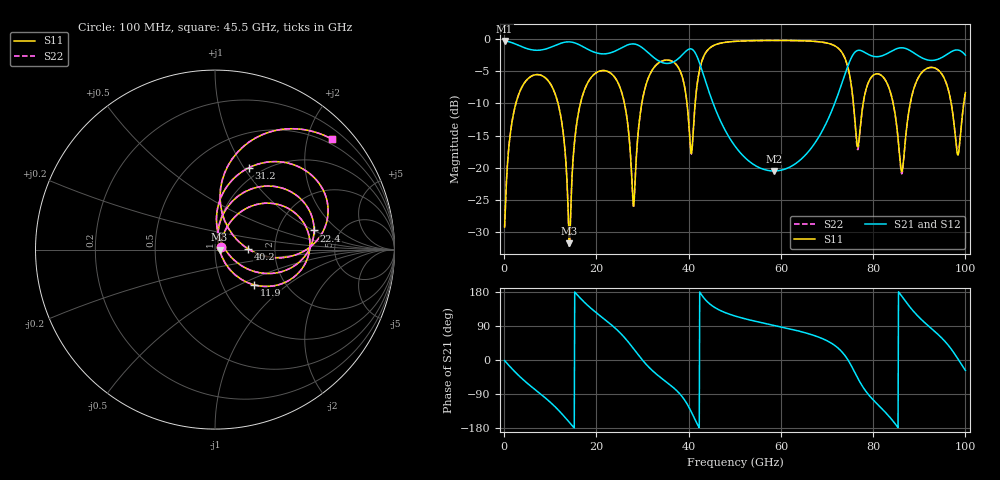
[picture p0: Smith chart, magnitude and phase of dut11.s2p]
! Touchstone file exported from HFSS 2026.1.0
!  File:  C:/ffzhzh/LocalFiles/Ansys_Project_Files/temp_train_TSV_RDL_11_1783612658_29156.aedt
!  Generated:  12:06:30 AM Jul 10, 2026
!  Design:  TSV_RDL
!  Project:  temp_train_TSV_RDL_11_1783612658_29156
! Variables:
!  h_bsmrdl = 2.23um
!  h_ox = 20um
!  h_rdl = 5um
!  h_sub = 91.65um
!  h_tmrdl = 2.52um
!  h_tsv = 91.65um
!  h_via = 3um
!  l_bsmrdl = 207.31um
!  l_sub = 3381.13um
!  l_tmrdl = 559.62um
!  m_sub = 200um
!  pitch = 52.19um
!  r_tsv = 14.86um
!  s_tmrdl = 10um
!  w_bsmrdl = 28.93um
!  w_sub = 500um
!  w_tmrdl = 11.31um
!  x_tsv_center1 = 565.275um
!  x_tsv_center2 = 801.515um
!  x_tsv_center3 = 1372.445um
!  x_tsv_center4 = 1608.685um
!  x_tsv_center5 = 2179.615um
!  x_tsv_center6 = 2415.855um
# GHz S MA R 50.000000
! Terminal data exported
! Port[1] = TM_RDL1_1_T1
! Port[2] = TM_RDL5_1_T1
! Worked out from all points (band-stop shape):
!   1000 points, 100 MHz to 100 GHz, reference 50 ohm
!   highest |S21| = -0.28 dB at 100 MHz (marker M1); lowest = -20.5 dB at 58.5 GHz (marker M2)
!   |S21| within 3 dB of the highest: start of sweep to 33.27 GHz; 75.02 GHz to 92.14 GHz (17.12 GHz wide, 20.5 % of centre) (the widest 2 of 4)
!   lowest |S11| = -31.8 dB at 14.1 GHz (marker M3), VSWR 1.05, Z = 52.6 - j0.0611 ohm
!   |S11| at or under -10 dB: 11.68 GHz to 16.53 GHz (4.852 GHz wide, 34.4 % of centre); 26.08 GHz to 29.84 GHz (3.759 GHz wide, 13.4 % of centre); 84.35 GHz to 88.04 GHz (3.691 GHz wide, 4.28 % of centre) (the widest 3 of 7)
!   |S22| runs from -32.2 to -0.2 dB; largest |S21 - S12| = 1.1e-13
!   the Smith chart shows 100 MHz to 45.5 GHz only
!   S11 on the Smith chart (normalised r, x): 100 MHz: 1.06, +0.03; 11.9 GHz: 1.41, -0.60; 22.4 GHz: 3.22, +1.01; 31.2 GHz: 0.87, +1.05; 40.2 GHz: 1.45, +0.02; 45.5 GHz: 0.39, +2.45
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0.1  0.03453 23.8  0.9687 -1.4  0.9687 -1.4  0.03453 23.8
! Gamma 0 0 0 0
! Port Impedance 50 0 50 0
3.9  0.4271 36.4  0.8716 -49.4  0.8716 -49.4  0.4272 36.3
11.9  0.2935 -41.9  0.9191 -134.0  0.9191 -134.0  0.2936 -42.1
14.1  0.02577 -1.3  0.953 -164.0  0.953 -164.0  0.02455 -2.5
16.8  0.3445 64.5  0.8853 159.5  0.8853 159.5  0.3443 64.7
22.4  0.5621 11.0  0.7732 101.3  0.7732 101.3  0.5621 11.0
28  0.05045 18.5  0.9186 30.7  0.9186 30.7  0.05022 18.3
31.2  0.4929 67.6  0.7863 -16.7  0.7863 -16.7  0.4928 67.6
33.4  0.6498 46.1  0.6812 -41.2  0.6812 -41.2  0.6497 46.1
40.2  0.1825 1.8  0.8399 -128.0  0.8399 -128.0  0.1818 1.5
45.5  0.8959 43.5  0.3041 139.8  0.3041 139.8  0.8957 43.5
50.1  0.9619 22.5  0.1465 115.9  0.1465 115.9  0.9618 22.5
58.5  0.9772 0.7  0.09437 91.4  0.09437 91.4  0.9771 0.7
66.7  0.9647 -21.0  0.144 66.7  0.144 66.7  0.9645 -21.1
75.7  0.3228 -84.9  0.7633 -25.1  0.7633 -25.1  0.3192 -86.1
78.2  0.3729 -2.6  0.7883 -78.7  0.7883 -78.7  0.3715 -1.8
83.4  0.4213 -50.6  0.7857 -148.1  0.7857 -148.1  0.4211 -50.7
86.2  0.09329 -14.1  0.8574 168.4  0.8574 168.4  0.08968 -14.2
90.8  0.5628 8.7  0.7094 102.9  0.7094 102.9  0.5624 9.2
96  0.4389 -37.4  0.7616 43.2  0.7616 43.2  0.4394 -36.8
98.3  0.1265 -6.5  0.8243 4.4  0.8243 4.4  0.1294 -6.1
100  0.3839 42.4  0.7505 -27.6  0.7505 -27.6  0.3846 42.1
